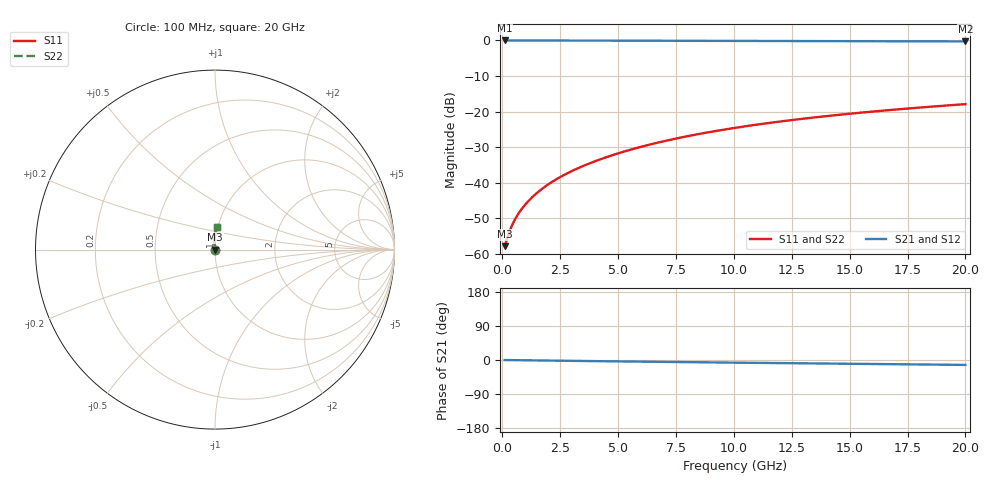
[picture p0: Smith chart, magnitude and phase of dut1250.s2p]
! Touchstone file exported from HFSS 2024.1.0
!  File:  C:/UserFiles/LocalFiles/RDL_TSV_Batchsim/temp_RDL_bottom_1250_1780245344.aedt
!  Generated:  12:37:54 AM Jun  1, 2026
!  Design:  RDL_bottom
!  Project:  temp_RDL_bottom_1250_1780245344
!  Setup:  Setup1
!  Solution:  Sweep
! Variables:
!  dtsv = 10.80580581um
!  hbump = 3um
!  htsv = 62.83um
!  ldown = 165.05um
!  lrdl = 100um
!  p = 40
!  p1 = 49.52um
!  rhole = 1um
!  t = 450um
!  tdown = 2.55um
!  trdl = 3.915915916um
!  wdown = 29.5um
!  wrdl = 20um
# GHz S MA R 50.000000
! Terminal data exported
! Port[1] = RDL1_T1
! Port[2] = RDL1_T2
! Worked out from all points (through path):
!   200 points, 100 MHz to 20 GHz, reference 50 ohm
!   highest |S21| = -0.01 dB at 100 MHz (marker M1); lowest = -0.3 dB at 20 GHz (marker M2)
!   group delay of S21, straight-line fit = 1.77 ps
!   lowest |S11| = -57.9 dB at 100 MHz (marker M3), VSWR 1.00, Z = 50.1 + j0.0551 ohm
!   |S11| at or under -10 dB: start of sweep to end of sweep
!   |S22| runs from -57.9 to -17.9 dB; largest |S21 - S12| = 3.5e-15
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0.1  0.001278 25.5  0.9988 -0.1  0.9988 -0.1  0.001278 25.5
! Gamma 0 0 0 0
! Port Impedance 50 0 50 0
0.3  0.00201 51.6  0.9987 -0.2  0.9987 -0.2  0.00201 51.6
0.4  0.002422 57.7  0.9986 -0.3  0.9986 -0.3  0.002422 57.7
0.5  0.002836 62.2  0.9985 -0.4  0.9985 -0.4  0.002836 62.2
0.6  0.003252 65.7  0.9985 -0.5  0.9985 -0.5  0.003252 65.7
0.8  0.004093 71.0  0.9983 -0.6  0.9983 -0.6  0.004093 71.0
1  0.004952 74.8  0.9982 -0.8  0.9982 -0.8  0.004952 74.8
1.2  0.005832 77.8  0.998 -0.9  0.998 -0.9  0.005832 77.8
1.7  0.008112 82.9  0.9976 -1.3  0.9976 -1.3  0.008112 82.9
2.2  0.0105 86.2  0.997 -1.7  0.997 -1.7  0.0105 86.2
2.8  0.0135 89.0  0.9963 -2.1  0.9963 -2.1  0.0135 89.0
3.5  0.0172 91.2  0.9952 -2.6  0.9952 -2.6  0.0172 91.2
4.2  0.0211 92.7  0.994 -3.1  0.994 -3.1  0.0211 92.7
5  0.02579 93.7  0.9925 -3.7  0.9925 -3.7  0.02579 93.7
5.9  0.03132 94.3  0.9907 -4.3  0.9907 -4.3  0.03132 94.3
6.8  0.03707 94.4  0.989 -4.9  0.989 -4.9  0.03708 94.4
8.4  0.04769 93.9  0.9859 -5.9  0.9859 -5.9  0.04769 93.9
10.1  0.05928 92.8  0.9828 -7.0  0.9828 -7.0  0.05929 92.8
11.7  0.07032 91.5  0.98 -8.0  0.98 -8.0  0.07032 91.5
13.4  0.08207 90.1  0.9773 -9.0  0.9773 -9.0  0.08207 90.1
16.7  0.1047 87.1  0.9723 -11.0  0.9723 -11.0  0.1047 87.1
20  0.127 84.3  0.9676 -12.9  0.9676 -12.9  0.127 84.3
